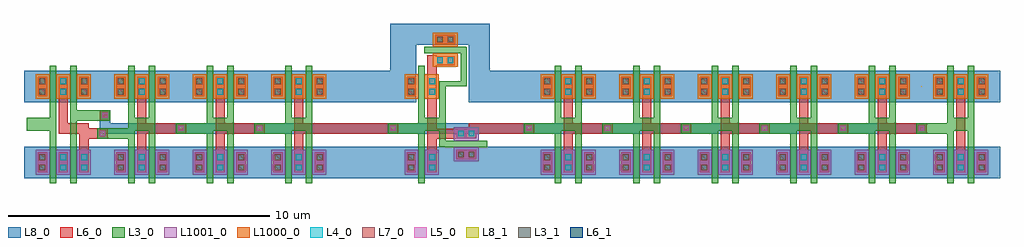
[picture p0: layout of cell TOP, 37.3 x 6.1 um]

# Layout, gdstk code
import gdstk
lib = gdstk.Library(unit=1e-6, precision=1e-09)
def R(c, l, rs):  # rectangles x0, y0, x1, y1
    for r in rs: c.add(gdstk.rectangle(r[:2], r[2:], *l))
def P(c, l, *ps):  # polygons
    for p in ps: c.add(gdstk.Polygon(p, *l))
L3_0 = (3, 0)
L3_1 = (3, 1)
L4_0 = (4, 0)
L5_0 = (5, 0)
L6_0 = (6, 0)
L6_1 = (6, 1)
L7_0 = (7, 0)
L8_0 = (8, 0)
L8_1 = (8, 1)
L1000_0 = (1000, 0)
L1001_0 = (1001, 0)

d_pmos_2 = lib.new_cell('D$PMOS$2')

d_pmos_3 = lib.new_cell('D$PMOS$3')

d_nmos_2 = lib.new_cell('D$NMOS$2')

d_nmos_3 = lib.new_cell('D$NMOS$3')

inv2alt = lib.new_cell('INV2ALT')
inv2alt.add(gdstk.Reference(d_pmos_2, (0.9,4.3)))
inv2alt.add(gdstk.Reference(d_pmos_3, (0,2.9)))
inv2alt.add(gdstk.Reference(d_nmos_2, (1.7,0.7)))
inv2alt.add(gdstk.Reference(d_nmos_3, (0,0)))

d_pmos = lib.new_cell('D$PMOS')

d_pmos_1 = lib.new_cell('D$PMOS$1')

d_nmos = lib.new_cell('D$NMOS')

d_nmos_1 = lib.new_cell('D$NMOS$1')

device_d_nmos = lib.new_cell('DEVICE_D$NMOS')
R(device_d_nmos, L1001_0, [(0.125,-0.475,0.675,0.475)])

device_d_nmos_1 = lib.new_cell('DEVICE_D$NMOS$1')
R(device_d_nmos_1, L1001_0, [(-0.675,-0.475,-0.125,0.475)])

net__6 = lib.new_cell('NET_$6')
R(net__6, L4_0, [(0.29,-0.31,0.51,-0.09), (0.29,-0.31,0.51,-0.09), (0.29,0.09,0.51,0.31), (0.29,0.09,0.51,0.31)])
R(net__6, L6_0, [(0.22,-0.38,0.58,0.38), (0.22,-0.38,0.58,0.38)])
R(net__6, L1001_0, [(0.125,-0.475,0.675,0.475)])
net__6.add(gdstk.Reference(device_d_nmos, (0,0)))
net__6.add(gdstk.Reference(device_d_nmos_1, (0.8,0)))

nand1x = lib.new_cell('NAND1X')
nand1x.add(gdstk.Reference(d_pmos, (0,2.9)))
nand1x.add(gdstk.Reference(d_pmos_1, (0.8,2.9)))
nand1x.add(gdstk.Reference(d_nmos, (0,0)))
nand1x.add(gdstk.Reference(d_nmos_1, (0.8,0)))
nand1x.add(gdstk.Reference(net__6, (0,0)))

inv2x = lib.new_cell('INV2X')
inv2x.add(gdstk.Reference(d_pmos, (0,2.9)))
inv2x.add(gdstk.Reference(d_pmos_1, (0.8,2.9)))
inv2x.add(gdstk.Reference(d_nmos, (0,0)))
inv2x.add(gdstk.Reference(d_nmos_1, (0.8,0)))

device_d_pmos = lib.new_cell('DEVICE_D$PMOS')
R(device_d_pmos, L1000_0, [(0.125,-0.475,0.675,0.475)])

device_d_pmos_1 = lib.new_cell('DEVICE_D$PMOS$1')
R(device_d_pmos_1, L1000_0, [(-0.675,-0.475,-0.125,0.475)])

circuit_inv2x = lib.new_cell('CIRCUIT_INV2X')
R(circuit_inv2x, L4_0, [(0.29,-0.31,0.51,-0.09), (0.29,-0.31,0.51,-0.09), (0.29,0.09,0.51,0.31), (0.29,0.09,0.51,0.31), (0.29,2.59,0.51,2.81), (0.29,2.59,0.51,2.81), (0.29,2.99,0.51,3.21), (0.29,2.99,0.51,3.21)])
R(circuit_inv2x, L6_0, [(0.22,-0.38,0.58,0.38), (0.22,-0.38,0.58,0.38), (0.22,0.3,0.58,2.6), (0.22,2.52,0.58,3.28), (0.22,2.52,0.58,3.28)])
R(circuit_inv2x, L1000_0, [(0.125,2.425,0.675,3.375)])
R(circuit_inv2x, L1001_0, [(0.125,-0.475,0.675,0.475)])
circuit_inv2x.add(gdstk.Reference(device_d_pmos, (0,2.9)))
circuit_inv2x.add(gdstk.Reference(device_d_pmos_1, (0.8,2.9)))
circuit_inv2x.add(gdstk.Reference(device_d_nmos, (0,0)))
circuit_inv2x.add(gdstk.Reference(device_d_nmos_1, (0.8,0)))

device_d_pmos_2 = lib.new_cell('DEVICE_D$PMOS$2')
R(device_d_pmos_2, L3_0, [(-0.125,-0.475,0.125,0.475)])

device_d_pmos_1_1 = lib.new_cell('DEVICE_D$PMOS$1$1')
R(device_d_pmos_1_1, L3_0, [(-0.125,-0.475,0.125,0.475)])

device_d_nmos_2 = lib.new_cell('DEVICE_D$NMOS$2')
R(device_d_nmos_2, L3_0, [(-0.125,-0.475,0.125,0.475)])

device_d_nmos_1_1 = lib.new_cell('DEVICE_D$NMOS$1$1')
R(device_d_nmos_1_1, L3_0, [(-0.125,-0.475,0.125,0.475)])

circuit_inv2x_1 = lib.new_cell('CIRCUIT_INV2X$1')
R(circuit_inv2x_1, L3_0, [(-0.125,-0.8,0.125,0.8), (0.675,-0.8,0.925,0.8), (-0.125,0.7,0.125,2.2), (0.675,0.7,0.925,2.2), (0,1.2,0.8,1.7), (-0.125,2.1,0.125,3.7), (0.675,2.1,0.925,3.7)])
circuit_inv2x_1.add(gdstk.Reference(device_d_pmos_2, (0,2.9)))
circuit_inv2x_1.add(gdstk.Reference(device_d_pmos_1_1, (0.8,2.9)))
circuit_inv2x_1.add(gdstk.Reference(device_d_nmos_2, (0,0)))
circuit_inv2x_1.add(gdstk.Reference(device_d_nmos_1_1, (0.8,0)))

net__1 = lib.new_cell('NET_$1')
R(net__1, L3_0, [(1.7,1.1,3,1.5)])
R(net__1, L4_0, [(0.29,-0.31,0.51,-0.09), (0.29,-0.31,0.51,-0.09), (0.29,0.09,0.51,0.31), (0.29,0.09,0.51,0.31), (0.29,2.59,0.51,2.81), (0.29,2.59,0.51,2.81), (0.29,2.99,0.51,3.21), (0.29,2.99,0.51,3.21)])
R(net__1, L5_0, [(1.8,1.2,2,1.4)])
R(net__1, L6_0, [(0.5,1.1,2.1,1.5)])
net__1.add(gdstk.Reference(circuit_inv2x, (0,0)))
net__1.add(gdstk.Reference(circuit_inv2x_1, (3,0)))

net__2 = lib.new_cell('NET_$2')
R(net__2, L3_0, [(4.7,1.1,6,1.5)])
R(net__2, L4_0, [(3.29,-0.31,3.51,-0.09), (3.29,-0.31,3.51,-0.09), (3.29,0.09,3.51,0.31), (3.29,0.09,3.51,0.31), (3.29,2.59,3.51,2.81), (3.29,2.59,3.51,2.81), (3.29,2.99,3.51,3.21), (3.29,2.99,3.51,3.21)])
R(net__2, L5_0, [(4.8,1.2,5,1.4)])
R(net__2, L6_0, [(3.5,1.1,5.1,1.5)])
net__2.add(gdstk.Reference(circuit_inv2x, (3,0)))
net__2.add(gdstk.Reference(circuit_inv2x_1, (6,0)))

device_d_pmos_2_1 = lib.new_cell('DEVICE_D$PMOS$2$1')
R(device_d_pmos_2_1, L1000_0, [(-0.475,-0.65,0.475,-0.125)])

device_d_pmos_3 = lib.new_cell('DEVICE_D$PMOS$3')
R(device_d_pmos_3, L1000_0, [(0.125,-0.475,0.65,0.475)])

device_d_nmos_2_1 = lib.new_cell('DEVICE_D$NMOS$2$1')
R(device_d_nmos_2_1, L1001_0, [(-0.475,0.125,0.475,0.65)])

device_d_nmos_3 = lib.new_cell('DEVICE_D$NMOS$3')
R(device_d_nmos_3, L1001_0, [(0.125,-0.475,0.65,0.475)])

circuit_inv2alt = lib.new_cell('CIRCUIT_INV2ALT')
R(circuit_inv2alt, L4_0, [(0.29,-0.31,0.51,-0.09), (0.29,0.09,0.51,0.31), (1.39,0.99,1.61,1.21), (1.79,0.99,2.01,1.21), (0.29,2.59,0.51,2.81), (0.29,2.99,0.51,3.21), (0.59,3.79,0.81,4.01), (0.99,3.79,1.21,4.01)])
R(circuit_inv2alt, L6_0, [(0.22,-0.38,0.58,0.38), (0.22,0.3,0.58,4.1), (0.4,0.9,1.32,1.28), (1.32,0.92,2.08,1.28), (0.22,2.52,0.58,3.28), (0.52,3.72,1.28,4.08)])
R(circuit_inv2alt, L1000_0, [(0.125,2.425,0.65,3.375), (0.425,3.65,1.375,4.175)])
R(circuit_inv2alt, L1001_0, [(0.125,-0.475,0.65,0.475), (1.225,0.825,2.175,1.35)])
circuit_inv2alt.add(gdstk.Reference(device_d_pmos_2_1, (0.9,4.3)))
circuit_inv2alt.add(gdstk.Reference(device_d_pmos_3, (0,2.9)))
circuit_inv2alt.add(gdstk.Reference(device_d_nmos_2_1, (1.7,0.7)))
circuit_inv2alt.add(gdstk.Reference(device_d_nmos_3, (0,0)))

net__3 = lib.new_cell('NET_$3')
R(net__3, L3_0, [(15,1.1,16.3,1.5)])
R(net__3, L4_0, [(11.39,-0.31,11.61,-0.09), (11.39,0.09,11.61,0.31), (12.49,0.99,12.71,1.21), (12.89,0.99,13.11,1.21), (11.39,2.59,11.61,2.81), (11.39,2.99,11.61,3.21), (11.69,3.79,11.91,4.01), (12.09,3.79,12.31,4.01)])
R(net__3, L5_0, [(15.1,1.2,15.3,1.4)])
R(net__3, L6_0, [(12.9,1.1,15.4,1.5)])
net__3.add(gdstk.Reference(circuit_inv2alt, (11.1,0)))
net__3.add(gdstk.Reference(circuit_inv2x_1, (16.3,0)))

net__4 = lib.new_cell('NET_$4')
R(net__4, L3_0, [(18,1.1,19.3,1.5)])
R(net__4, L4_0, [(16.59,-0.31,16.81,-0.09), (16.59,-0.31,16.81,-0.09), (16.59,0.09,16.81,0.31), (16.59,0.09,16.81,0.31), (16.59,2.59,16.81,2.81), (16.59,2.59,16.81,2.81), (16.59,2.99,16.81,3.21), (16.59,2.99,16.81,3.21)])
R(net__4, L5_0, [(18.1,1.2,18.3,1.4)])
R(net__4, L6_0, [(16.8,1.1,18.4,1.5)])
net__4.add(gdstk.Reference(circuit_inv2x, (16.3,0)))
net__4.add(gdstk.Reference(circuit_inv2x_1, (19.3,0)))

net__5 = lib.new_cell('NET_$5')
R(net__5, L3_0, [(21,1.1,22.3,1.5)])
R(net__5, L4_0, [(19.59,-0.31,19.81,-0.09), (19.59,-0.31,19.81,-0.09), (19.59,0.09,19.81,0.31), (19.59,0.09,19.81,0.31), (19.59,2.59,19.81,2.81), (19.59,2.59,19.81,2.81), (19.59,2.99,19.81,3.21), (19.59,2.99,19.81,3.21)])
R(net__5, L5_0, [(21.1,1.2,21.3,1.4)])
R(net__5, L6_0, [(19.8,1.1,21.4,1.5)])
net__5.add(gdstk.Reference(circuit_inv2x, (19.3,0)))
net__5.add(gdstk.Reference(circuit_inv2x_1, (22.3,0)))

net__6_1 = lib.new_cell('NET_$6$1')
R(net__6_1, L3_0, [(24,1.1,25.3,1.5)])
R(net__6_1, L4_0, [(22.59,-0.31,22.81,-0.09), (22.59,-0.31,22.81,-0.09), (22.59,0.09,22.81,0.31), (22.59,0.09,22.81,0.31), (22.59,2.59,22.81,2.81), (22.59,2.59,22.81,2.81), (22.59,2.99,22.81,3.21), (22.59,2.99,22.81,3.21)])
R(net__6_1, L5_0, [(24.1,1.2,24.3,1.4)])
R(net__6_1, L6_0, [(22.8,1.1,24.4,1.5)])
net__6_1.add(gdstk.Reference(circuit_inv2x, (22.3,0)))
net__6_1.add(gdstk.Reference(circuit_inv2x_1, (25.3,0)))

net__7 = lib.new_cell('NET_$7')
R(net__7, L3_0, [(27,1.1,28.3,1.5)])
R(net__7, L4_0, [(25.59,-0.31,25.81,-0.09), (25.59,-0.31,25.81,-0.09), (25.59,0.09,25.81,0.31), (25.59,0.09,25.81,0.31), (25.59,2.59,25.81,2.81), (25.59,2.59,25.81,2.81), (25.59,2.99,25.81,3.21), (25.59,2.99,25.81,3.21)])
R(net__7, L5_0, [(27.1,1.2,27.3,1.4)])
R(net__7, L6_0, [(25.8,1.1,27.4,1.5)])
net__7.add(gdstk.Reference(circuit_inv2x, (25.3,0)))
net__7.add(gdstk.Reference(circuit_inv2x_1, (28.3,0)))

circuit_nand1x = lib.new_cell('CIRCUIT_NAND1X')
R(circuit_nand1x, L3_0, [(0.675,-0.8,0.925,0.8), (0.675,0.7,0.925,2.2), (0.675,2.1,0.925,3.7)])
circuit_nand1x.add(gdstk.Reference(device_d_pmos_1_1, (0.8,2.9)))
circuit_nand1x.add(gdstk.Reference(device_d_nmos_1_1, (0.8,0)))

net_fb = lib.new_cell('NET_FB')
R(net_fb, L3_0, [(30,1.1,31.3,1.5), (-2.075,1.6,-0.8,2)])
R(net_fb, L4_0, [(28.59,-0.31,28.81,-0.09), (28.59,-0.31,28.81,-0.09), (28.59,0.09,28.81,0.31), (28.59,0.09,28.81,0.31), (28.59,2.59,28.81,2.81), (28.59,2.59,28.81,2.81), (28.59,2.99,28.81,3.21), (28.59,2.99,28.81,3.21)])
R(net_fb, L5_0, [(30.1,1.2,30.3,1.4), (-1.1,1.7,-0.9,1.9)])
R(net_fb, L6_0, [(28.8,1.1,30.4,1.5), (-1.2,1.6,-0.8,2)])
R(net_fb, L7_0, [(30.1,1.2,30.3,1.4), (-1.1,1.7,-0.9,1.9)])
R(net_fb, L8_0, [(-1.2,1.1,30.4,1.5), (-1.2,1.1,-0.8,2)])
R(net_fb, L8_1, [(15.599,1.299,15.601,1.301)])
net_fb.add(gdstk.Reference(circuit_inv2x, (28.3,0)))
net_fb.add(gdstk.Reference(circuit_nand1x, (-3,0)))
net_fb.add(gdstk.Reference(circuit_inv2x_1, (31.3,0)))

device_d_nmos_1_2 = lib.new_cell('DEVICE_D$NMOS$1$2')
R(device_d_nmos_1_2, L1001_0, [(0.125,-0.475,0.65,0.475)])

circuit_nand1x_1 = lib.new_cell('CIRCUIT_NAND1X$1')
R(circuit_nand1x_1, L4_0, [(1.09,-0.31,1.31,-0.09), (1.09,0.09,1.31,0.31), (0.29,2.59,0.51,2.81), (0.29,2.59,0.51,2.81), (0.29,2.99,0.51,3.21), (0.29,2.99,0.51,3.21)])
R(circuit_nand1x_1, L6_0, [(1.02,-0.38,1.38,0.38), (1.02,0,1.38,1.5), (0.22,1.1,0.58,2.6), (0.22,1.1,1.38,1.5), (0.22,2.52,0.58,3.28), (0.22,2.52,0.58,3.28)])
R(circuit_nand1x_1, L1000_0, [(0.125,2.425,0.675,3.375)])
R(circuit_nand1x_1, L1001_0, [(0.925,-0.475,1.45,0.475)])
circuit_nand1x_1.add(gdstk.Reference(device_d_pmos, (0,2.9)))
circuit_nand1x_1.add(gdstk.Reference(device_d_pmos_1, (0.8,2.9)))
circuit_nand1x_1.add(gdstk.Reference(device_d_nmos_1_2, (0.8,0)))

net__9 = lib.new_cell('NET_$9')
R(net__9, L3_0, [(-1.3,0.9,0,1.3)])
R(net__9, L4_0, [(-1.91,-0.31,-1.69,-0.09), (-1.91,0.09,-1.69,0.31), (-2.71,2.59,-2.49,2.81), (-2.71,2.59,-2.49,2.81), (-2.71,2.99,-2.49,3.21), (-2.71,2.99,-2.49,3.21)])
R(net__9, L5_0, [(-1.2,1,-1,1.2)])
R(net__9, L6_0, [(-1.8,0.9,-0.9,1.3)])
net__9.add(gdstk.Reference(circuit_inv2x_1, (0,0)))
net__9.add(gdstk.Reference(circuit_nand1x_1, (-3,0)))

circuit_nand1x_2 = lib.new_cell('CIRCUIT_NAND1X$2')
R(circuit_nand1x_2, L3_0, [(-0.125,-0.8,0.125,0.8), (-0.125,0.7,0.125,2.2), (-0.125,2.1,0.125,3.7)])
circuit_nand1x_2.add(gdstk.Reference(device_d_pmos_2, (0,2.9)))
circuit_nand1x_2.add(gdstk.Reference(device_d_nmos_2, (0,0)))

net_en = lib.new_cell('NET_EN')
R(net_en, L3_0, [(-4,1.2,-3.125,1.7)])
R(net_en, L3_1, [(-3.601,1.499,-3.599,1.501)])
net_en.add(gdstk.Reference(circuit_nand1x_2, (-3,0)))

device_d_pmos_2_2 = lib.new_cell('DEVICE_D$PMOS$2$2')
R(device_d_pmos_2_2, L3_0, [(-0.475,-0.125,0.475,0.125)])

device_d_pmos_3_1 = lib.new_cell('DEVICE_D$PMOS$3$1')
R(device_d_pmos_3_1, L3_0, [(-0.125,-0.475,0.125,0.475)])

device_d_nmos_2_2 = lib.new_cell('DEVICE_D$NMOS$2$2')
R(device_d_nmos_2_2, L3_0, [(-0.475,-0.125,0.475,0.125)])

device_d_nmos_3_1 = lib.new_cell('DEVICE_D$NMOS$3$1')
R(device_d_nmos_3_1, L3_0, [(-0.125,-0.475,0.125,0.475)])

circuit_inv2alt_1 = lib.new_cell('CIRCUIT_INV2ALT$1')
R(circuit_inv2alt_1, L3_0, [(-0.125,-0.8,0.125,0.8), (0.9,0.575,2.5,0.825), (0.675,0.6,0.925,2.9), (-0.125,0.7,0.125,2.2), (0,1.2,0.8,1.7), (-0.125,2.1,0.125,3.7), (0.675,2.9,1.725,3.1), (1.5,3.1,1.725,4.4), (0.1,4.175,1.7,4.425)])
circuit_inv2alt_1.add(gdstk.Reference(device_d_pmos_2_2, (0.9,4.3)))
circuit_inv2alt_1.add(gdstk.Reference(device_d_pmos_3_1, (0,2.9)))
circuit_inv2alt_1.add(gdstk.Reference(device_d_nmos_2_2, (1.7,0.7)))
circuit_inv2alt_1.add(gdstk.Reference(device_d_nmos_3_1, (0,0)))

net__11 = lib.new_cell('NET_$11')
R(net__11, L3_0, [(9.8,1.1,11.1,1.5)])
R(net__11, L4_0, [(6.29,-0.31,6.51,-0.09), (6.29,-0.31,6.51,-0.09), (6.29,0.09,6.51,0.31), (6.29,0.09,6.51,0.31), (6.29,2.59,6.51,2.81), (6.29,2.59,6.51,2.81), (6.29,2.99,6.51,3.21), (6.29,2.99,6.51,3.21)])
R(net__11, L5_0, [(9.9,1.2,10.1,1.4)])
R(net__11, L6_0, [(6.5,1.1,10.2,1.5)])
net__11.add(gdstk.Reference(circuit_inv2x, (6,0)))
net__11.add(gdstk.Reference(circuit_inv2alt_1, (11.1,0)))

net_out = lib.new_cell('NET_OUT')
R(net_out, L4_0, [(31.59,-0.31,31.81,-0.09), (31.59,-0.31,31.81,-0.09), (31.59,0.09,31.81,0.31), (31.59,0.09,31.81,0.31), (31.59,2.59,31.81,2.81), (31.59,2.59,31.81,2.81), (31.59,2.99,31.81,3.21), (31.59,2.99,31.81,3.21)])
R(net_out, L6_1, [(31.699,0.899,31.701,0.901)])
net_out.add(gdstk.Reference(circuit_inv2x, (31.3,0)))

device_d_pmos_4 = lib.new_cell('DEVICE_D$PMOS$4')
R(device_d_pmos_4, L1000_0, [(-0.65,-0.475,-0.125,0.475)])

device_d_pmos_1_2 = lib.new_cell('DEVICE_D$PMOS$1$2')
R(device_d_pmos_1_2, L1000_0, [(0.125,-0.475,0.65,0.475)])

circuit_inv2x_2 = lib.new_cell('CIRCUIT_INV2X$2')
R(circuit_inv2x_2, L4_0, [(-0.51,2.59,-0.29,2.81), (1.09,2.59,1.31,2.81), (-0.51,2.99,-0.29,3.21), (1.09,2.99,1.31,3.21)])
R(circuit_inv2x_2, L6_0, [(-0.58,2.52,-0.22,3.28), (1.02,2.52,1.38,3.28)])
R(circuit_inv2x_2, L7_0, [(-0.51,2.59,-0.29,2.81), (1.09,2.59,1.31,2.81), (-0.51,2.99,-0.29,3.21), (1.09,2.99,1.31,3.21)])
R(circuit_inv2x_2, L8_0, [(-1.1,2.3,1.9,3.5)])
R(circuit_inv2x_2, L1000_0, [(-0.65,2.425,-0.125,3.375), (0.925,2.425,1.45,3.375)])
circuit_inv2x_2.add(gdstk.Reference(device_d_pmos_4, (0,2.9)))
circuit_inv2x_2.add(gdstk.Reference(device_d_pmos_1_2, (0.8,2.9)))

device_d_pmos_2_3 = lib.new_cell('DEVICE_D$PMOS$2$3')
R(device_d_pmos_2_3, L1000_0, [(-0.475,0.125,0.475,0.65)])

device_d_pmos_3_2 = lib.new_cell('DEVICE_D$PMOS$3$2')
R(device_d_pmos_3_2, L1000_0, [(-0.65,-0.475,-0.125,0.475)])

circuit_inv2alt_2 = lib.new_cell('CIRCUIT_INV2ALT$2')
R(circuit_inv2alt_2, L4_0, [(-0.51,2.59,-0.29,2.81), (-0.51,2.99,-0.29,3.21), (0.59,4.59,0.81,4.81), (0.99,4.59,1.21,4.81)])
R(circuit_inv2alt_2, L6_0, [(-0.58,2.52,-0.22,3.28), (0.52,4.52,1.28,4.88)])
R(circuit_inv2alt_2, L7_0, [(-0.51,2.59,-0.29,2.81), (-0.51,2.99,-0.29,3.21), (0.59,4.59,0.81,4.81), (0.99,4.59,1.21,4.81)])
P(circuit_inv2alt_2, L8_0, [(-4.3,2.3),(-4.3,3.5),(-1.2,3.5),(-1.2,5.3),(2.6,5.3),(2.6,3.5),(4.7,3.5),(4.7,2.3),(1.8,2.3),(1.8,4.5),(-0.2,4.5),(-0.2,2.3)])
R(circuit_inv2alt_2, L1000_0, [(-0.65,2.425,-0.125,3.375), (0.425,4.425,1.375,4.95)])
circuit_inv2alt_2.add(gdstk.Reference(device_d_pmos_2_3, (0.9,4.3)))
circuit_inv2alt_2.add(gdstk.Reference(device_d_pmos_3_2, (0,2.9)))

circuit_nand1x_3 = lib.new_cell('CIRCUIT_NAND1X$3')
R(circuit_nand1x_3, L4_0, [(-0.51,2.59,-0.29,2.81), (1.09,2.59,1.31,2.81), (-0.51,2.99,-0.29,3.21), (1.09,2.99,1.31,3.21)])
R(circuit_nand1x_3, L6_0, [(-0.58,2.52,-0.22,3.28), (1.02,2.52,1.38,3.28)])
R(circuit_nand1x_3, L7_0, [(-0.51,2.59,-0.29,2.81), (1.09,2.59,1.31,2.81), (-0.51,2.99,-0.29,3.21), (1.09,2.99,1.31,3.21)])
R(circuit_nand1x_3, L8_0, [(-1.1,2.3,1.9,3.5)])
R(circuit_nand1x_3, L1000_0, [(-0.65,2.425,-0.125,3.375), (0.925,2.425,1.45,3.375)])
circuit_nand1x_3.add(gdstk.Reference(device_d_pmos_4, (0,2.9)))
circuit_nand1x_3.add(gdstk.Reference(device_d_pmos_1_2, (0.8,2.9)))

net_vdd = lib.new_cell('NET_VDD')
R(net_vdd, L4_0, [(-3.51,2.59,-3.29,2.81), (-1.91,2.59,-1.69,2.81), (-0.51,2.59,-0.29,2.81), (1.09,2.59,1.31,2.81), (2.49,2.59,2.71,2.81), (4.09,2.59,4.31,2.81), (5.49,2.59,5.71,2.81), (7.09,2.59,7.31,2.81), (10.59,2.59,10.81,2.81), (15.79,2.59,16.01,2.81), (17.39,2.59,17.61,2.81), (18.79,2.59,19.01,2.81), (20.39,2.59,20.61,2.81), (21.79,2.59,22.01,2.81), (23.39,2.59,23.61,2.81), (24.79,2.59,25.01,2.81), (26.39,2.59,26.61,2.81), (27.79,2.59,28.01,2.81), (29.39,2.59,29.61,2.81), (30.79,2.59,31.01,2.81), (32.39,2.59,32.61,2.81), (-3.51,2.99,-3.29,3.21), (-1.91,2.99,-1.69,3.21), (-0.51,2.99,-0.29,3.21), (1.09,2.99,1.31,3.21), (2.49,2.99,2.71,3.21), (4.09,2.99,4.31,3.21), (5.49,2.99,5.71,3.21), (7.09,2.99,7.31,3.21), (10.59,2.99,10.81,3.21), (15.79,2.99,16.01,3.21), (17.39,2.99,17.61,3.21), (18.79,2.99,19.01,3.21), (20.39,2.99,20.61,3.21), (21.79,2.99,22.01,3.21), (23.39,2.99,23.61,3.21), (24.79,2.99,25.01,3.21), (26.39,2.99,26.61,3.21), (27.79,2.99,28.01,3.21), (29.39,2.99,29.61,3.21), (30.79,2.99,31.01,3.21), (32.39,2.99,32.61,3.21), (11.69,4.59,11.91,4.81), (12.09,4.59,12.31,4.81)])
R(net_vdd, L6_0, [(-3.58,2.52,-3.22,3.28), (-1.98,2.52,-1.62,3.28), (-0.58,2.52,-0.22,3.28), (1.02,2.52,1.38,3.28), (2.42,2.52,2.78,3.28), (4.02,2.52,4.38,3.28), (5.42,2.52,5.78,3.28), (7.02,2.52,7.38,3.28), (10.52,2.52,10.88,3.28), (15.72,2.52,16.08,3.28), (17.32,2.52,17.68,3.28), (18.72,2.52,19.08,3.28), (20.32,2.52,20.68,3.28), (21.72,2.52,22.08,3.28), (23.32,2.52,23.68,3.28), (24.72,2.52,25.08,3.28), (26.32,2.52,26.68,3.28), (27.72,2.52,28.08,3.28), (29.32,2.52,29.68,3.28), (30.72,2.52,31.08,3.28), (32.32,2.52,32.68,3.28), (11.62,4.52,12.38,4.88)])
R(net_vdd, L8_1, [(30.199,2.899,30.201,2.901)])
net_vdd.add(gdstk.Reference(circuit_inv2x_2, (0,0)))
net_vdd.add(gdstk.Reference(circuit_inv2x_2, (3,0)))
net_vdd.add(gdstk.Reference(circuit_inv2x_2, (6,0)))
net_vdd.add(gdstk.Reference(circuit_inv2alt_2, (11.1,0)))
net_vdd.add(gdstk.Reference(circuit_inv2x_2, (16.3,0)))
net_vdd.add(gdstk.Reference(circuit_inv2x_2, (19.3,0)))
net_vdd.add(gdstk.Reference(circuit_inv2x_2, (22.3,0)))
net_vdd.add(gdstk.Reference(circuit_inv2x_2, (25.3,0)))
net_vdd.add(gdstk.Reference(circuit_inv2x_2, (28.3,0)))
net_vdd.add(gdstk.Reference(circuit_nand1x_3, (-3,0)))
net_vdd.add(gdstk.Reference(circuit_inv2x_2, (31.3,0)))

device_d_nmos_4 = lib.new_cell('DEVICE_D$NMOS$4')
R(device_d_nmos_4, L1001_0, [(-0.65,-0.475,-0.125,0.475)])

circuit_inv2x_3 = lib.new_cell('CIRCUIT_INV2X$3')
R(circuit_inv2x_3, L4_0, [(-0.51,-0.31,-0.29,-0.09), (1.09,-0.31,1.31,-0.09), (-0.51,0.09,-0.29,0.31), (1.09,0.09,1.31,0.31)])
R(circuit_inv2x_3, L6_0, [(-0.58,-0.38,-0.22,0.38), (1.02,-0.38,1.38,0.38)])
R(circuit_inv2x_3, L7_0, [(-0.51,-0.31,-0.29,-0.09), (1.09,-0.31,1.31,-0.09), (-0.51,0.09,-0.29,0.31), (1.09,0.09,1.31,0.31)])
R(circuit_inv2x_3, L8_0, [(-1.1,-0.6,1.9,0.6)])
R(circuit_inv2x_3, L1001_0, [(-0.65,-0.475,-0.125,0.475), (0.925,-0.475,1.45,0.475)])
circuit_inv2x_3.add(gdstk.Reference(device_d_nmos_4, (0,0)))
circuit_inv2x_3.add(gdstk.Reference(device_d_nmos_1_2, (0.8,0)))

device_d_nmos_2_3 = lib.new_cell('DEVICE_D$NMOS$2$3')
R(device_d_nmos_2_3, L1001_0, [(-0.475,-0.65,0.475,-0.125)])

device_d_nmos_3_2 = lib.new_cell('DEVICE_D$NMOS$3$2')
R(device_d_nmos_3_2, L1001_0, [(-0.65,-0.475,-0.125,0.475)])

circuit_inv2alt_3 = lib.new_cell('CIRCUIT_INV2ALT$3')
R(circuit_inv2alt_3, L4_0, [(-0.51,-0.31,-0.29,-0.09), (-0.51,0.09,-0.29,0.31), (1.39,0.19,1.61,0.41), (1.79,0.19,2.01,0.41)])
R(circuit_inv2alt_3, L6_0, [(-0.58,-0.38,-0.22,0.38), (1.32,0.12,2.08,0.48)])
R(circuit_inv2alt_3, L7_0, [(-0.51,-0.31,-0.29,-0.09), (-0.51,0.09,-0.29,0.31), (1.39,0.19,1.61,0.41), (1.79,0.19,2.01,0.41)])
R(circuit_inv2alt_3, L8_0, [(-4.3,-0.6,4.7,0.6)])
R(circuit_inv2alt_3, L1001_0, [(-0.65,-0.475,-0.125,0.475), (1.225,0.05,2.175,0.575)])
circuit_inv2alt_3.add(gdstk.Reference(device_d_nmos_2_3, (1.7,0.7)))
circuit_inv2alt_3.add(gdstk.Reference(device_d_nmos_3_2, (0,0)))

circuit_nand1x_4 = lib.new_cell('CIRCUIT_NAND1X$4')
R(circuit_nand1x_4, L4_0, [(-0.51,-0.31,-0.29,-0.09), (-0.51,0.09,-0.29,0.31)])
R(circuit_nand1x_4, L6_0, [(-0.58,-0.38,-0.22,0.38)])
R(circuit_nand1x_4, L7_0, [(-0.51,-0.31,-0.29,-0.09), (-0.51,0.09,-0.29,0.31)])
R(circuit_nand1x_4, L8_0, [(-1.1,-0.6,1.9,0.6)])
R(circuit_nand1x_4, L1001_0, [(-0.65,-0.475,-0.125,0.475)])
circuit_nand1x_4.add(gdstk.Reference(device_d_nmos_4, (0,0)))

net_vss = lib.new_cell('NET_VSS')
R(net_vss, L4_0, [(-3.51,-0.31,-3.29,-0.09), (-0.51,-0.31,-0.29,-0.09), (1.09,-0.31,1.31,-0.09), (2.49,-0.31,2.71,-0.09), (4.09,-0.31,4.31,-0.09), (5.49,-0.31,5.71,-0.09), (7.09,-0.31,7.31,-0.09), (10.59,-0.31,10.81,-0.09), (15.79,-0.31,16.01,-0.09), (17.39,-0.31,17.61,-0.09), (18.79,-0.31,19.01,-0.09), (20.39,-0.31,20.61,-0.09), (21.79,-0.31,22.01,-0.09), (23.39,-0.31,23.61,-0.09), (24.79,-0.31,25.01,-0.09), (26.39,-0.31,26.61,-0.09), (27.79,-0.31,28.01,-0.09), (29.39,-0.31,29.61,-0.09), (30.79,-0.31,31.01,-0.09), (32.39,-0.31,32.61,-0.09), (-3.51,0.09,-3.29,0.31), (-0.51,0.09,-0.29,0.31), (1.09,0.09,1.31,0.31), (2.49,0.09,2.71,0.31), (4.09,0.09,4.31,0.31), (5.49,0.09,5.71,0.31), (7.09,0.09,7.31,0.31), (10.59,0.09,10.81,0.31), (15.79,0.09,16.01,0.31), (17.39,0.09,17.61,0.31), (18.79,0.09,19.01,0.31), (20.39,0.09,20.61,0.31), (21.79,0.09,22.01,0.31), (23.39,0.09,23.61,0.31), (24.79,0.09,25.01,0.31), (26.39,0.09,26.61,0.31), (27.79,0.09,28.01,0.31), (29.39,0.09,29.61,0.31), (30.79,0.09,31.01,0.31), (32.39,0.09,32.61,0.31), (12.49,0.19,12.71,0.41), (12.89,0.19,13.11,0.41)])
R(net_vss, L6_0, [(-3.58,-0.38,-3.22,0.38), (-0.58,-0.38,-0.22,0.38), (1.02,-0.38,1.38,0.38), (2.42,-0.38,2.78,0.38), (4.02,-0.38,4.38,0.38), (5.42,-0.38,5.78,0.38), (7.02,-0.38,7.38,0.38), (10.52,-0.38,10.88,0.38), (15.72,-0.38,16.08,0.38), (17.32,-0.38,17.68,0.38), (18.72,-0.38,19.08,0.38), (20.32,-0.38,20.68,0.38), (21.72,-0.38,22.08,0.38), (23.32,-0.38,23.68,0.38), (24.72,-0.38,25.08,0.38), (26.32,-0.38,26.68,0.38), (27.72,-0.38,28.08,0.38), (29.32,-0.38,29.68,0.38), (30.72,-0.38,31.08,0.38), (32.32,-0.38,32.68,0.38), (12.42,0.12,13.18,0.48)])
R(net_vss, L8_1, [(30.199,-0.001,30.201,0.001)])
net_vss.add(gdstk.Reference(circuit_inv2x_3, (0,0)))
net_vss.add(gdstk.Reference(circuit_inv2x_3, (3,0)))
net_vss.add(gdstk.Reference(circuit_inv2x_3, (6,0)))
net_vss.add(gdstk.Reference(circuit_inv2alt_3, (11.1,0)))
net_vss.add(gdstk.Reference(circuit_inv2x_3, (16.3,0)))
net_vss.add(gdstk.Reference(circuit_inv2x_3, (19.3,0)))
net_vss.add(gdstk.Reference(circuit_inv2x_3, (22.3,0)))
net_vss.add(gdstk.Reference(circuit_inv2x_3, (25.3,0)))
net_vss.add(gdstk.Reference(circuit_inv2x_3, (28.3,0)))
net_vss.add(gdstk.Reference(circuit_nand1x_4, (-3,0)))
net_vss.add(gdstk.Reference(circuit_inv2x_3, (31.3,0)))

top = lib.new_cell('TOP')
top.add(gdstk.Reference(inv2alt, (11.1,0)))
top.add(gdstk.Reference(nand1x, (-3,0)))
top.add(gdstk.Reference(inv2x, (0,0)))
top.add(gdstk.Reference(inv2x, (3,0)))
top.add(gdstk.Reference(inv2x, (6,0)))
top.add(gdstk.Reference(inv2x, (16.3,0)))
top.add(gdstk.Reference(inv2x, (19.3,0)))
top.add(gdstk.Reference(inv2x, (22.3,0)))
top.add(gdstk.Reference(inv2x, (25.3,0)))
top.add(gdstk.Reference(inv2x, (28.3,0)))
top.add(gdstk.Reference(inv2x, (31.3,0)))
top.add(gdstk.Reference(net__1, (0,0)))
top.add(gdstk.Reference(net__2, (0,0)))
top.add(gdstk.Reference(net__3, (0,0)))
top.add(gdstk.Reference(net__4, (0,0)))
top.add(gdstk.Reference(net__5, (0,0)))
top.add(gdstk.Reference(net__6_1, (0,0)))
top.add(gdstk.Reference(net__7, (0,0)))
top.add(gdstk.Reference(net_fb, (0,0)))
top.add(gdstk.Reference(net__9, (0,0)))
top.add(gdstk.Reference(net_en, (0,0)))
top.add(gdstk.Reference(net__11, (0,0)))
top.add(gdstk.Reference(net_out, (0,0)))
top.add(gdstk.Reference(net_vdd, (0,0)))
top.add(gdstk.Reference(net_vss, (0,0)))

lib.write_gds('TOP.gds')
